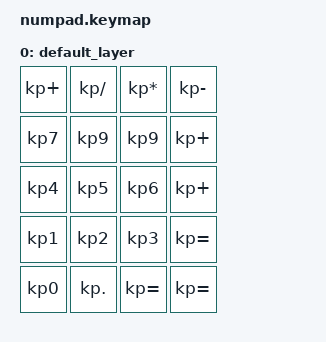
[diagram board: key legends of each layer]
// Created: August 9 2025 18:11
//
// Edited: 2025-Aug-09 18:13

#include <behaviors.dtsi>
#include <dt-bindings/zmk/keys.h>

/ {
    keymap {
        compatible = "zmk,keymap";

        default_layer { // Layer 0
            // -------------------------------------
            // |     NUM     |     /     |     *     | -
            // |     7     |     B     |     C         |
            // |     4     |     5     |     6         |
            // |     1     |     2     |     3         |
            // |     0     |     .     |     Enter     |
            bindings = <
                &kp KP_PLUS  &kp KP_DIVIDE &kp KP_MULTIPLY &kp KP_MINUS
                &kp KP_N7    &kp KP_N9  &kp KP_N9 &kp KP_PLUS
                &kp KP_N4    &kp KP_N5  &kp KP_N6 &kp KP_PLUS
                &kp KP_N1    &kp KP_N2  &kp KP_N3 &kp KP_EQUAL
                &kp KP_N0    &kp KP_DOT  &kp KP_EQUAL &kp KP_EQUAL
            >;
        };
    };
 };
